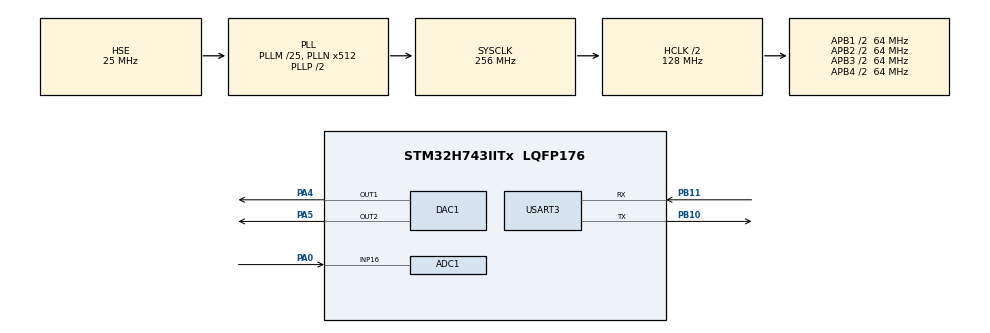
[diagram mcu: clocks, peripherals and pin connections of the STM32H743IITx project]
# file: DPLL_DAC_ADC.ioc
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ADC1.Channel-0\#ChannelRegularConversion=ADC_CHANNEL_16
ADC1.ConversionDataManagement=ADC_CONVERSIONDATA_DMA_CIRCULAR
ADC1.ExternalTrigConv=ADC_EXTERNALTRIG_T4_TRGO
ADC1.NbrOfConversionFlag=1
ADC1.OffsetNumber-0\#ChannelRegularConversion=ADC_OFFSET_NONE
ADC1.OffsetSignedSaturation-0\#ChannelRegularConversion=DISABLE
ADC1.Rank-0\#ChannelRegularConversion=1
ADC1.SamplingTime-0\#ChannelRegularConversion=ADC_SAMPLETIME_1CYCLE_5
ADC1.master=1
DAC1.DAC1_OutputBuffer-DAC_OUT1=DAC_OUTPUTBUFFER_DISABLE
DAC1.DAC2_OutputBuffer-DAC_OUT2=DAC_OUTPUTBUFFER_DISABLE
DAC1.DAC_Channel-DAC_OUT1=DAC_CHANNEL_1
DAC1.DAC_Channel-DAC_OUT2=DAC_CHANNEL_2
DAC1.DAC_Trigger-DAC_OUT1=DAC_TRIGGER_T4_TRGO
DAC1.DAC_Trigger-DAC_OUT2=DAC_TRIGGER_T4_TRGO
Dma.ADC1.0.Direction=DMA_PERIPH_TO_MEMORY
Dma.ADC1.0.EventEnable=DISABLE
Dma.ADC1.0.FIFOMode=DMA_FIFOMODE_DISABLE
Dma.ADC1.0.Instance=DMA1_Stream0
Dma.ADC1.0.MemDataAlignment=DMA_MDATAALIGN_HALFWORD
Dma.ADC1.0.MemInc=DMA_MINC_ENABLE
Dma.ADC1.0.Mode=DMA_CIRCULAR
Dma.ADC1.0.PeriphDataAlignment=DMA_PDATAALIGN_HALFWORD
Dma.ADC1.0.PeriphInc=DMA_PINC_DISABLE
Dma.ADC1.0.Polarity=HAL_DMAMUX_REQ_GEN_RISING
Dma.ADC1.0.Priority=DMA_PRIORITY_LOW
Dma.ADC1.0.RequestNumber=1
Dma.ADC1.0.SignalID=NONE
Dma.ADC1.0.SyncEnable=DISABLE
Dma.ADC1.0.SyncPolarity=HAL_DMAMUX_SYNC_NO_EVENT
Dma.ADC1.0.SyncRequestNumber=1
Dma.ADC1.0.SyncSignalID=NONE
Dma.DAC1_CH1.1.Direction=DMA_MEMORY_TO_PERIPH
Dma.DAC1_CH1.1.EventEnable=DISABLE
Dma.DAC1_CH1.1.FIFOMode=DMA_FIFOMODE_DISABLE
Dma.DAC1_CH1.1.Instance=DMA1_Stream1
Dma.DAC1_CH1.1.MemDataAlignment=DMA_MDATAALIGN_HALFWORD
Dma.DAC1_CH1.1.MemInc=DMA_MINC_ENABLE
Dma.DAC1_CH1.1.Mode=DMA_CIRCULAR
Dma.DAC1_CH1.1.PeriphDataAlignment=DMA_PDATAALIGN_HALFWORD
Dma.DAC1_CH1.1.PeriphInc=DMA_PINC_DISABLE
Dma.DAC1_CH1.1.Polarity=HAL_DMAMUX_REQ_GEN_RISING
Dma.DAC1_CH1.1.Priority=DMA_PRIORITY_LOW
Dma.DAC1_CH1.1.RequestNumber=1
Dma.DAC1_CH1.1.SignalID=NONE
Dma.DAC1_CH1.1.SyncEnable=DISABLE
Dma.DAC1_CH1.1.SyncPolarity=HAL_DMAMUX_SYNC_NO_EVENT
Dma.DAC1_CH1.1.SyncRequestNumber=1
Dma.DAC1_CH1.1.SyncSignalID=NONE
Dma.DAC1_CH2.2.Direction=DMA_MEMORY_TO_PERIPH
Dma.DAC1_CH2.2.EventEnable=DISABLE
Dma.DAC1_CH2.2.FIFOMode=DMA_FIFOMODE_DISABLE
Dma.DAC1_CH2.2.Instance=DMA2_Stream1
Dma.DAC1_CH2.2.MemDataAlignment=DMA_MDATAALIGN_HALFWORD
Dma.DAC1_CH2.2.MemInc=DMA_MINC_ENABLE
Dma.DAC1_CH2.2.Mode=DMA_CIRCULAR
Dma.DAC1_CH2.2.PeriphDataAlignment=DMA_PDATAALIGN_HALFWORD
Dma.DAC1_CH2.2.PeriphInc=DMA_PINC_DISABLE
Dma.DAC1_CH2.2.Polarity=HAL_DMAMUX_REQ_GEN_RISING
Dma.DAC1_CH2.2.Priority=DMA_PRIORITY_LOW
Dma.DAC1_CH2.2.RequestNumber=1
Dma.DAC1_CH2.2.SignalID=NONE
Dma.DAC1_CH2.2.SyncEnable=DISABLE
Dma.DAC1_CH2.2.SyncPolarity=HAL_DMAMUX_SYNC_NO_EVENT
Dma.DAC1_CH2.2.SyncRequestNumber=1
Dma.DAC1_CH2.2.SyncSignalID=NONE
Dma.Request0=ADC1
Dma.Request1=DAC1_CH1
Dma.Request2=DAC1_CH2
Mcu.Family=STM32H7
Mcu.Name=STM32H743IITx
Mcu.Package=LQFP176
NVIC.DMA1_Stream0_IRQn=true\:1\:0\:true\:false\:true\:false\:true\:true
NVIC.DMA1_Stream1_IRQn=true\:1\:0\:true\:false\:true\:false\:true\:true
NVIC.DMA2_Stream1_IRQn=true\:1\:0\:true\:false\:true\:false\:true\:true
NVIC.PriorityGroup=NVIC_PRIORITYGROUP_4
PA0.Mode=IN16-Single-Ended
PA0.Signal=ADC1_INP16
PA13\ (JTMS/SWDIO).Mode=Serial_Wire
PA13\ (JTMS/SWDIO).Signal=DEBUG_JTMS-SWDIO
PA14\ (JTCK/SWCLK).Mode=Serial_Wire
PA14\ (JTCK/SWCLK).Signal=DEBUG_JTCK-SWCLK
PA2.Signal=ADCx_INP14
PA4.Signal=COMP_DAC11_group
PA5.Signal=COMP_DAC12_group
PB10.Mode=Asynchronous
PB10.Signal=USART3_TX
PB11.Mode=Asynchronous
PB11.Signal=USART3_RX
PC14-OSC32_IN\ (OSC32_IN).Mode=LSE-External-Oscillator
PC14-OSC32_IN\ (OSC32_IN).Signal=RCC_OSC32_IN
PC15-OSC32_OUT\ (OSC32_OUT).Mode=LSE-External-Oscillator
PC15-OSC32_OUT\ (OSC32_OUT).Signal=RCC_OSC32_OUT
PH0-OSC_IN\ (PH0).Mode=HSE-External-Oscillator
PH0-OSC_IN\ (PH0).Signal=RCC_OSC_IN
PH1-OSC_OUT\ (PH1).Mode=HSE-External-Oscillator
PH1-OSC_OUT\ (PH1).Signal=RCC_OSC_OUT
ProjectManager.HeapSize=0x200
ProjectManager.StackSize=0x400
ProjectManager.TargetToolchain=MDK-ARM V5.32
RCC.ADCFreq_Value=75000000
RCC.APB1Freq_Value=64000000
RCC.APB2Freq_Value=64000000
RCC.APB3Freq_Value=64000000
RCC.APB4Freq_Value=64000000
RCC.CortexFreq_Value=256000000
RCC.D1PPRE=RCC_APB3_DIV2
RCC.D2PPRE1=RCC_APB1_DIV2
RCC.D2PPRE2=RCC_APB2_DIV2
RCC.D3PPRE=RCC_APB4_DIV2
RCC.DIVM1=25
RCC.DIVM2=2
RCC.DIVN1=512
RCC.DIVN2=12
RCC.HCLKFreq_Value=128000000
RCC.HPRE=RCC_HCLK_DIV2
RCC.PLL2FRACN=0
RCC.PLL2_VCI_Range=RCC_PLL2VCIRANGE_3
RCC.PLL3FRACN=0
RCC.PLLFRACN=0
RCC.PLLSourceVirtual=RCC_PLLSOURCE_HSE
RCC.SYSCLKFreq_VALUE=256000000
RCC.SYSCLKSource=RCC_SYSCLKSOURCE_PLLCLK
RCC.USBFreq_Value=256000000
SH.ADCx_INP14.0=ADC2_INP14
SH.COMP_DAC11_group.0=DAC1_OUT1,DAC_OUT1
SH.COMP_DAC12_group.0=DAC1_OUT2,DAC_OUT2
TIM4.Period=125-1
TIM4.TIM_MasterOutputTrigger=TIM_TRGO_UPDATE
USART3.VirtualMode-Asynchronous=VM_ASYNC
VP_MEMORYMAP_VS_MEMORYMAP.Mode=CurAppReg
VP_TIM4_VS_ClockSourceINT.Mode=Internal
board=custom

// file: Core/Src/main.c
/* USER CODE BEGIN Header */
  /**
    ******************************************************************************
    * @file           : main.c
    * @brief          : Main program body
    ******************************************************************************
    * @attention
    *
    * Copyright (c) 2025 STMicroelectronics.
    * All rights reserved.
    *
    * This software is licensed under terms that can be found in the LICENSE file
    * in the root directory of this software component.
    * If no LICENSE file comes with this software, it is provided AS-IS.
    *
    ******************************************************************************
    */
/* USER CODE END Header */
#include "main.h"
#include "adc.h"
#include "dac.h"
#include "dma.h"
#include "memorymap.h"
#include "tim.h"
#include "usart.h"
#include "gpio.h"

/* USER CODE BEGIN Includes */
  #include "MyFunction.h"
  #include "stdio.h"
/* USER CODE END Includes */

void SystemClock_Config(void);

/* USER CODE BEGIN 0 */

volatile uint8_t ADC_ConvEnd = 0;
volatile uint8_t First_ADC = 1;

  //����
extern uint16_t ADC_Buffer[ADC_LEN];
extern float FFT_Data1[FFT_LEN * 2];
extern float FFT_Data2[FFT_LEN * 2];
extern uint16_t DAC_Buffer1[DAC_LEN];
extern uint16_t DAC_Buffer2[DAC_LEN];
Signal Wave[2];
uint16_t target_d_angle = 30;//Ŀ��ǶȲ�(0~180��)

#define BUFFER_SIZE 1024
uint16_t* CurrADC_Buffer = NULL;
uint16_t* NextADC_Buffer = NULL;
uint16_t* CurrDAC_Buffer1 = NULL;
uint16_t* NextDAC_Buffer1 = NULL;
uint16_t* CurrDAC_Buffer2 = NULL;
uint16_t* NextDAC_Buffer2 = NULL;

volatile uint8_t buffer_in_use = 0;
void setup_buffers(void) {
    CurrADC_Buffer = ADC_Buffer;
    CurrDAC_Buffer1 = DAC_Buffer1;
    CurrDAC_Buffer2 = DAC_Buffer2;
    NextADC_Buffer = ADC_Buffer + BUFFER_SIZE;
    NextDAC_Buffer1 = DAC_Buffer1 + BUFFER_SIZE;
    NextDAC_Buffer2 = DAC_Buffer2 + BUFFER_SIZE;
    buffer_in_use = 1;
}
void swap_buffers(void) {
    CurrADC_Buffer = NextADC_Buffer;
    CurrDAC_Buffer1 = NextDAC_Buffer1;
    CurrDAC_Buffer2 = NextDAC_Buffer2;
    NextADC_Buffer = (buffer_in_use == 0) ? ADC_Buffer : ADC_Buffer + BUFFER_SIZE;
    NextDAC_Buffer1 = (buffer_in_use == 0) ? DAC_Buffer1 : DAC_Buffer1 + BUFFER_SIZE;
    NextDAC_Buffer2 = (buffer_in_use == 0) ? DAC_Buffer2 : DAC_Buffer2 + BUFFER_SIZE;
    buffer_in_use = !buffer_in_use;
}
/* USER CODE END 0 */

int main(void)
{

  /* MCU Configuration--------------------------------------------------------*/

  /* Reset of all peripherals, Initializes the Flash interface and the Systick. */
  HAL_Init();

  /* Configure the system clock */
  SystemClock_Config();

  /* Initialize all configured peripherals */
  MX_GPIO_Init();
  MX_DMA_Init();
  MX_ADC1_Init();
  MX_DAC1_Init();
  MX_TIM4_Init();
  MX_USART3_UART_Init();
  /* USER CODE BEGIN 2 */
    setup_buffers();
    HAL_ADCEx_Calibration_Start(&hadc1,ADC_CALIB_OFFSET, ADC_SINGLE_ENDED);
		HAL_ADC_Start_DMA(&hadc1, (uint32_t*)ADC_Buffer, ADC_LEN);
    HAL_DAC_Start_DMA(&hdac1, DAC_CHANNEL_1, (uint32_t*)DAC_Buffer1, DAC_LEN, DAC_ALIGN_12B_R);
    HAL_DAC_Start_DMA(&hdac1, DAC_CHANNEL_2, (uint32_t*)DAC_Buffer2, DAC_LEN, DAC_ALIGN_12B_R);
		HAL_TIM_Base_Start(&htim4);

  /* USER CODE END 2 */

  /* Infinite loop */
  /* USER CODE BEGIN WHILE */
    while (1)
    {
      if(ADC_ConvEnd)
      {
        ADC_ConvEnd = 0;
        FFT_Process(CurrADC_Buffer);
        if(First_ADC){
          First_ADC = 0;
          Find_2BaseIndex();
          Detect_WaveType();
        }
        ProcessFFTData(0,0);
        IFFT_Process(FFT_Data1, CurrDAC_Buffer1);
				ProcessFFTData(1,target_d_angle);
        IFFT_Process(FFT_Data2, CurrDAC_Buffer2);
        memset(CurrADC_Buffer, 0, BUFFER_SIZE * sizeof(uint16_t));
        swap_buffers();
      }

    /* USER CODE END WHILE */

    }
}

void SystemClock_Config(void)
{
  RCC_OscInitTypeDef RCC_OscInitStruct = {0};
  RCC_ClkInitTypeDef RCC_ClkInitStruct = {0};

  /** Supply configuration update enable
  */
  HAL_PWREx_ConfigSupply(PWR_LDO_SUPPLY);

  /** Configure the main internal regulator output voltage
  */
  __HAL_PWR_VOLTAGESCALING_CONFIG(PWR_REGULATOR_VOLTAGE_SCALE2);

  while(!__HAL_PWR_GET_FLAG(PWR_FLAG_VOSRDY)) {}

  /** Initializes the RCC Oscillators according to the specified parameters
  * in the RCC_OscInitTypeDef structure.
  */
  RCC_OscInitStruct.OscillatorType = RCC_OSCILLATORTYPE_HSE;
  RCC_OscInitStruct.HSEState = RCC_HSE_ON;
  RCC_OscInitStruct.PLL.PLLState = RCC_PLL_ON;
  RCC_OscInitStruct.PLL.PLLSource = RCC_PLLSOURCE_HSE;
  RCC_OscInitStruct.PLL.PLLM = 25;
  RCC_OscInitStruct.PLL.PLLN = 512;
  RCC_OscInitStruct.PLL.PLLP = 2;
  RCC_OscInitStruct.PLL.PLLQ = 2;
  RCC_OscInitStruct.PLL.PLLR = 2;
  RCC_OscInitStruct.PLL.PLLRGE = RCC_PLL1VCIRANGE_0;
  RCC_OscInitStruct.PLL.PLLVCOSEL = RCC_PLL1VCOWIDE;
  RCC_OscInitStruct.PLL.PLLFRACN = 0;
  if (HAL_RCC_OscConfig(&RCC_OscInitStruct) != HAL_OK)
  {
    Error_Handler();
  }

  /** Initializes the CPU, AHB and APB buses clocks
  */
  RCC_ClkInitStruct.ClockType = RCC_CLOCKTYPE_HCLK|RCC_CLOCKTYPE_SYSCLK
                              |RCC_CLOCKTYPE_PCLK1|RCC_CLOCKTYPE_PCLK2
                              |RCC_CLOCKTYPE_D3PCLK1|RCC_CLOCKTYPE_D1PCLK1;
  RCC_ClkInitStruct.SYSCLKSource = RCC_SYSCLKSOURCE_PLLCLK;
  RCC_ClkInitStruct.SYSCLKDivider = RCC_SYSCLK_DIV1;
  RCC_ClkInitStruct.AHBCLKDivider = RCC_HCLK_DIV2;
  RCC_ClkInitStruct.APB3CLKDivider = RCC_APB3_DIV2;
  RCC_ClkInitStruct.APB1CLKDivider = RCC_APB1_DIV2;
  RCC_ClkInitStruct.APB2CLKDivider = RCC_APB2_DIV2;
  RCC_ClkInitStruct.APB4CLKDivider = RCC_APB4_DIV2;

  if (HAL_RCC_ClockConfig(&RCC_ClkInitStruct, FLASH_LATENCY_2) != HAL_OK)
  {
    Error_Handler();
  }
}

/* USER CODE BEGIN 4 */
void HAL_ADC_ConvHalfCpltCallback(ADC_HandleTypeDef *hadc)
{
  ADC_ConvEnd = 1;
}

void HAL_ADC_ConvCpltCallback(ADC_HandleTypeDef *hadc)
{
  ADC_ConvEnd = 1;
}

void HAL_DAC_ConvHalfCpltCallbackCh1(DAC_HandleTypeDef *hdac)
{
}

void HAL_DAC_ConvCpltCallbackCh1(DAC_HandleTypeDef *hdac)
{
}

void HAL_TIM_PeriodElapsedCallback(TIM_HandleTypeDef *htim)
{
}

/* USER CODE END 4 */

void Error_Handler(void)
{
    __disable_irq();
    while (1)
    {
    }
}
